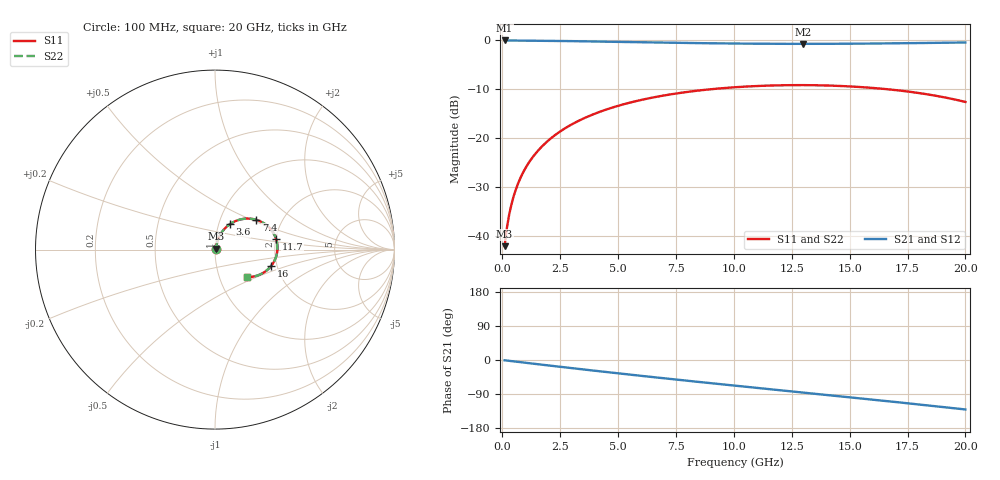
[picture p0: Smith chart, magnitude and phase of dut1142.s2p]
! Touchstone file exported from HFSS 2026.1.0
!  File:  C:/ffzhzh/LocalFiles/Ansys_Project_Files/temp_train_TSV_RDL_1142_1783309443_39728.aedt
!  Generated:  11:53:02 AM Jul  6, 2026
!  Design:  TSV_RDL
!  Project:  temp_train_TSV_RDL_1142_1783309443_39728
! Variables:
!  h_bsmrdl = 4.53um
!  h_ox = 20um
!  h_rdl = 5um
!  h_sub = 86um
!  h_tmrdl = 5.27um
!  h_tsv = 86um
!  h_via = 3um
!  l_bsmrdl = 146.34um
!  l_sub = 2100.51um
!  l_tmrdl = 278.27um
!  m_sub = 200um
!  pitch = 48.49um
!  r_tsv = 10.73um
!  s_tmrdl = 10um
!  w_bsmrdl = 22.47um
!  w_sub = 500um
!  w_tmrdl = 27um
!  x_tsv_center1 = 291.77um
!  x_tsv_center2 = 460.58um
!  x_tsv_center3 = 765.85um
!  x_tsv_center4 = 934.66um
!  x_tsv_center5 = 1239.93um
!  x_tsv_center6 = 1408.74um
# GHz S MA R 50.000000
! Terminal data exported
! Port[1] = TM_RDL1_1_T1
! Port[2] = TM_RDL5_1_T1
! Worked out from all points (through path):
!   200 points, 100 MHz to 20 GHz, reference 50 ohm
!   highest |S21| = -0.05 dB at 100 MHz (marker M1); lowest = -0.7 dB at 13 GHz (marker M2)
!   group delay of S21, straight-line fit = 17.8 ps
!   lowest |S11| = -42.0 dB at 100 MHz (marker M3), VSWR 1.02, Z = 50.6 + j0.546 ohm
!   |S11| at or under -10 dB: start of sweep to 9.001 GHz; 16.64 GHz to end of sweep
!   |S22| runs from -42.0 to -9.2 dB; largest |S21 - S12| = 1.3e-12
!   S11 on the Smith chart (normalised r, x): 100 MHz: 1.01, +0.01; 3.6 GHz: 1.13, +0.33; 7.4 GHz: 1.48, +0.54; 11.7 GHz: 2.01, +0.27; 16 GHz: 1.86, -0.38; 20 GHz: 1.35, -0.44
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0.1  0.007943 42.8  0.9942 -0.8  0.9942 -0.8  0.007943 42.8
! Gamma 0 0 0 0
! Port Impedance 50 0 50 0
0.2  0.01226 58.2  0.9938 -1.5  0.9938 -1.5  0.01226 58.2
0.3  0.01681 64.9  0.9934 -2.2  0.9934 -2.2  0.01681 64.9
0.5  0.02607 70.7  0.9927 -3.7  0.9927 -3.7  0.02607 70.7
0.8  0.04018 73.3  0.9917 -5.9  0.9917 -5.9  0.04018 73.3
1.1  0.05427 73.4  0.9904 -8.0  0.9904 -8.0  0.05427 73.4
1.5  0.07282 72.1  0.9885 -10.9  0.9885 -10.9  0.07282 72.1
2.1  0.09993 69.1  0.985 -15.2  0.985 -15.2  0.09993 69.1
2.7  0.126 65.6  0.9809 -19.4  0.9809 -19.4  0.126 65.5
3.5  0.1589 60.5  0.9746 -24.9  0.9746 -24.9  0.1589 60.5
3.6  0.1628 59.9  0.9738 -25.6  0.9738 -25.6  0.1628 59.9
5  0.2142 50.9  0.9618 -35.2  0.9618 -35.2  0.2142 50.9
6.8  0.2685 39.5  0.9463 -47.1  0.9463 -47.1  0.2686 39.5
7.4  0.2836 35.8  0.9416 -50.9  0.9416 -50.9  0.2836 35.8
10.1  0.3321 19.3  0.9246 -68.0  0.9246 -68.0  0.3321 19.3
11.7  0.3457 9.7  0.9193 -78.0  0.9193 -78.0  0.3457 9.7
13  0.3484 2.0  0.9179 -86.0  0.9179 -86.0  0.3484 1.9
13.4  0.3478 -0.4  0.918 -88.5  0.918 -88.5  0.3478 -0.5
16  0.3262 -16.1  0.9247 -104.6  0.9247 -104.6  0.3262 -16.1
16.7  0.3152 -20.3  0.928 -109.1  0.928 -109.1  0.3152 -20.4
18.4  0.2796 -30.8  0.9379 -120.0  0.9379 -120.0  0.2796 -30.8
20  0.2347 -40.7  0.9484 -130.6  0.9484 -130.6  0.2348 -40.8
